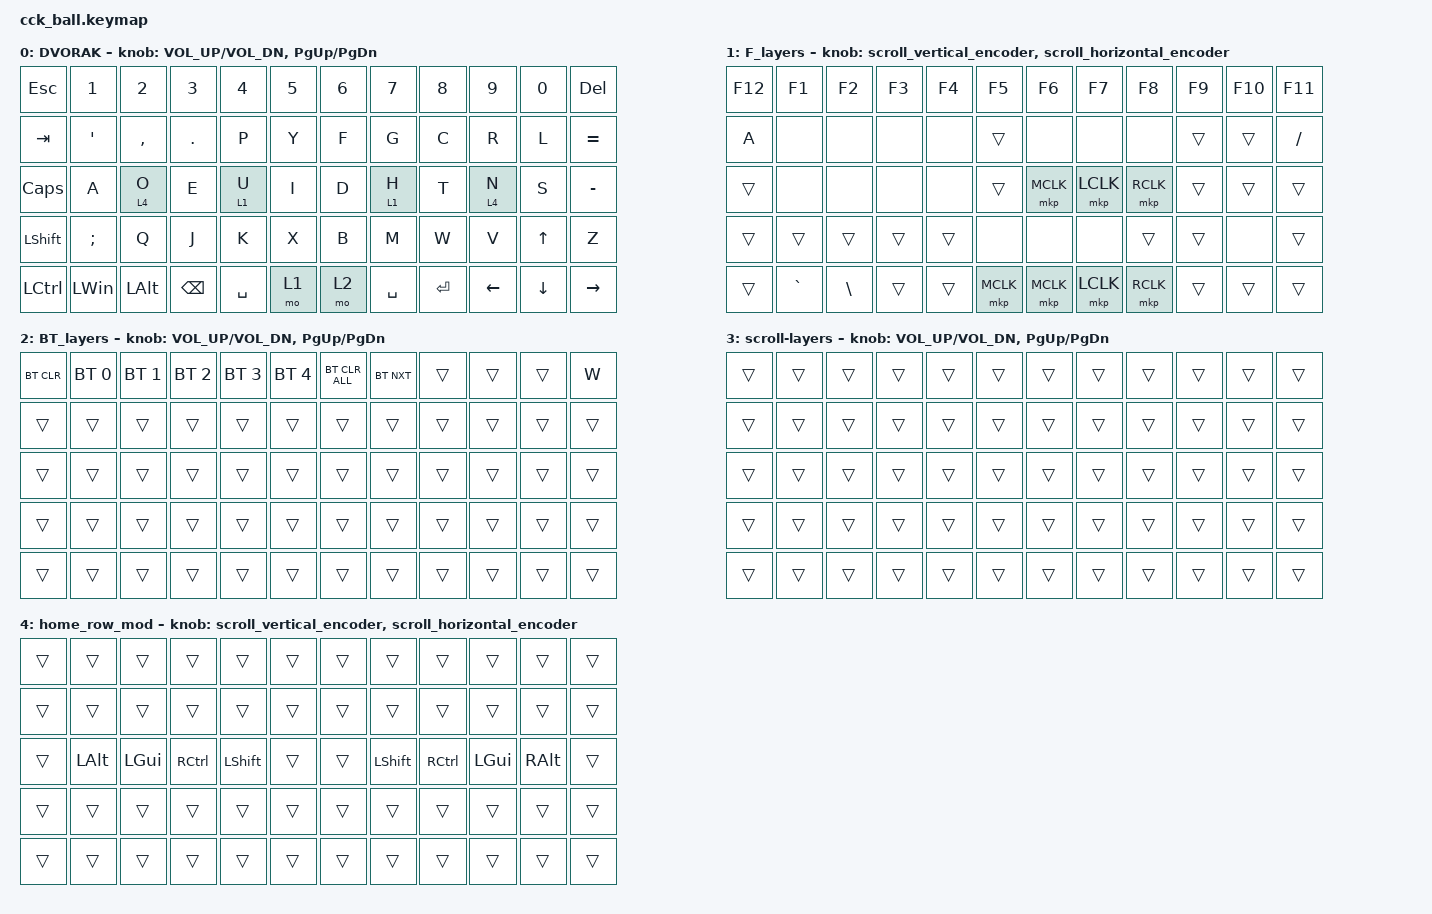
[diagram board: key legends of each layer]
#define ZMK_POINTING_DEFAULT_MOVE_VAL 1000 // 600
#define ZMK_POINTING_DEFAULT_SCRL_VAL 12   // 10

#include <input/processors.dtsi>
#include <zephyr/dt-bindings/input/input-event-codes.h>
#include <behaviors.dtsi>
#include <dt-bindings/zmk/bt.h>
#include <dt-bindings/zmk/keys.h>
#include <dt-bindings/zmk/pointing.h>

&mmv_input_listener { input-processors = <&zip_xy_scaler 2 1>; };

&msc_input_listener { input-processors = <&zip_scroll_scaler 2 1>; };

&msc {
    acceleration-exponent = <0>;      // 0
    time-to-max-speed-ms = <300>;       // 300
    delay-ms = <0>;                   // 0
};

&mmv {
    time-to-max-speed-ms = <500>;
    acceleration-exponent = <1>;
    trigger-period-ms = <16>;
};

&soft_off { hold-time-ms = <2000>; };

/ {
    // 上下滚动编码器行为

    scroll_vertical_encoder: scroll_vertical_encoder {
        compatible = "zmk,behavior-sensor-rotate";
        #sensor-binding-cells = <0>;
        bindings = <&msc SCRL_DOWN>, <&msc SCRL_UP>;

        tap-ms = <100>;
    };

    // 左右滚动编码器行为

    scroll_horizontal_encoder: scroll_horizontal_encoder {
        compatible = "zmk,behavior-sensor-rotate";
        #sensor-binding-cells = <0>;
        bindings = <&msc SCRL_LEFT>, <&msc SCRL_RIGHT>;

        tap-ms = <100>;
    };

    behaviors {
    };

    keymap {
        compatible = "zmk,keymap";

        DVORAK {
            bindings = <
&kp ESC           &kp N1        &kp N2        &kp N3         &kp N4     &kp N5  &kp N6  &kp N7     &kp N8     &kp N9          &kp N0          &kp DELETE
&kp TAB           &kp SQT       &kp COMMA     &kp DOT        &kp P      &kp Y   &kp F   &kp G      &kp C      &kp R           &kp L           &kp EQUAL
&kp CAPSLOCK      &kp A         &lt 4 O       &kp E          &lt 1 U    &kp I   &kp D   &lt 1 H    &kp T      &lt 4 N         &kp S           &kp MINUS
&kp LEFT_SHIFT    &kp SEMI      &kp Q         &kp J          &kp K      &kp X   &kp B   &kp M      &kp W      &kp V           &kp UP_ARROW    &kp Z
&kp LEFT_CONTROL  &kp LEFT_WIN  &kp LEFT_ALT  &kp BACKSPACE  &kp SPACE  &mo 1   &mo 2   &kp SPACE  &kp ENTER  &kp LEFT_ARROW  &kp DOWN_ARROW  &kp RIGHT_ARROW
            >;

            sensor-bindings = <&inc_dec_kp C_VOL_UP C_VOL_DN &inc_dec_kp PG_UP PG_DN>;
        };

        F_layers {
            bindings = <
&kp F12  &kp F1     &kp F2         &kp F3  &kp F4  &kp F5     &kp F6     &kp F7     &kp F8     &kp F9  &kp F10  &kp F11
&kp A    &none      &none          &none   &none   &trans     &none      &none      &none      &trans  &trans   &kp SLASH
&trans   &none      &none          &none   &none   &trans     &mkp MCLK  &mkp LCLK  &mkp RCLK  &trans  &trans   &trans
&trans   &trans     &trans         &trans  &trans  &none      &none      &none      &trans     &trans  &none    &trans
&trans   &kp GRAVE  &kp BACKSLASH  &trans  &trans  &mkp MCLK  &mkp MCLK  &mkp LCLK  &mkp RCLK  &trans  &trans   &trans
            >;

            sensor-bindings =
                <&scroll_vertical_encoder>,
                <&scroll_horizontal_encoder>;
        };

        BT_layers {
            bindings = <
&bt BT_CLR  &bt BT_SEL 0  &bt BT_SEL 1  &bt BT_SEL 2  &bt BT_SEL 3  &bt BT_SEL 4  &bt BT_CLR_ALL  &bt BT_NXT  &trans  &trans  &trans  &kp W
&trans      &trans        &trans        &trans        &trans        &trans        &trans          &trans      &trans  &trans  &trans  &trans
&trans      &trans        &trans        &trans        &trans        &trans        &trans          &trans      &trans  &trans  &trans  &trans
&trans      &trans        &trans        &trans        &trans        &trans        &trans          &trans      &trans  &trans  &trans  &trans
&trans      &trans        &trans        &trans        &trans        &trans        &trans          &trans      &trans  &trans  &trans  &trans
            >;

            sensor-bindings = <&inc_dec_kp C_VOL_UP C_VOL_DN &inc_dec_kp PG_UP PG_DN>;
        };

        scroll-layers {
            bindings = <
&trans  &trans  &trans  &trans  &trans  &trans  &trans  &trans  &trans  &trans  &trans  &trans
&trans  &trans  &trans  &trans  &trans  &trans  &trans  &trans  &trans  &trans  &trans  &trans
&trans  &trans  &trans  &trans  &trans  &trans  &trans  &trans  &trans  &trans  &trans  &trans
&trans  &trans  &trans  &trans  &trans  &trans  &trans  &trans  &trans  &trans  &trans  &trans
&trans  &trans  &trans  &trans  &trans  &trans  &trans  &trans  &trans  &trans  &trans  &trans
            >;

            sensor-bindings = <&inc_dec_kp C_VOL_UP C_VOL_DN &inc_dec_kp PG_UP PG_DN>;
        };

        home_row_mod {
            bindings = <
&trans  &trans    &trans    &trans     &trans     &trans  &trans  &trans     &trans     &trans    &trans    &trans
&trans  &trans    &trans    &trans     &trans     &trans  &trans  &trans     &trans     &trans    &trans    &trans
&trans  &kp LALT  &kp LGUI  &kp RCTRL  &kp LSHFT  &trans  &trans  &kp LSHFT  &kp RCTRL  &kp LGUI  &kp RALT  &trans
&trans  &trans    &trans    &trans     &trans     &trans  &trans  &trans     &trans     &trans    &trans    &trans
&trans  &trans    &trans    &trans     &trans     &trans  &trans  &trans     &trans     &trans    &trans    &trans
            >;

            sensor-bindings =
                <&scroll_vertical_encoder>,
                // 编码器1：上下滚动,,,
                <&scroll_horizontal_encoder>;

            // 编码器2：左右滚动
        };
    };
};
